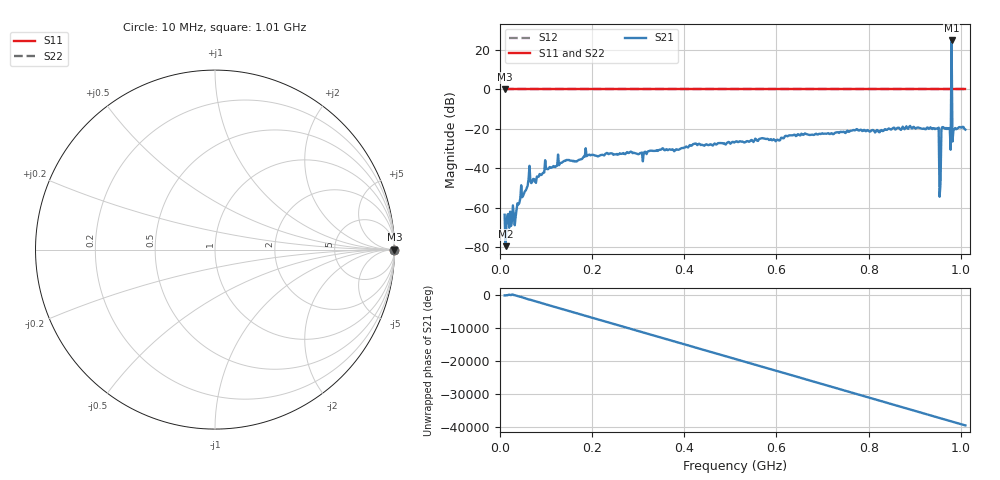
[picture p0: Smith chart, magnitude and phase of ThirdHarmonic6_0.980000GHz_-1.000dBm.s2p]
! 8/16/2025 7:35:18 AM
! C:\ANRITSUVNA\TEMP\TEMP.S2P
! CHANNEL.1
! TR.MEASUREMENT
! RAW.DATA
! RF.CORRECTION.OFF
! AVERAGING.OFF
! IF.BANDWIDTH: 5KHZ
! SWEEPTYPE:  FREQ.SWEEP(Linear)
! Reference Plane Port Info
! PORT:  PORT1  PORT2
! DISTANCE:  0  m  0  m
! TIME:  0  s  0  s
! PHASE.OFFSET:  0  deg.  0  deg.
! LOSS:  0  dB  0  dB
! REF.LOSS:  0  dB  0  dB
! REF.FREQ:  0  Hz  0  Hz
! Power Info
! POWER:  -20  dBm  -20  dBm
! EFF.POWER:  -20  dBm  -20  dBm
! SOURCE.ATTEN:  0  dB  0  dB
! TEST.ATTEN:  0  dB  0  dB
# GHZ S RI R 50.0
! FREQ.GHZ  S11RE  S11IM  S21RE  S21IM  S12RE  S12IM  S22RE  S22IM
!; PortSelection: Port_12
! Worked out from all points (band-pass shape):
!   501 points, 10 MHz to 1.01 GHz, reference 50 ohm
!   highest |S21| = 24.65 dB at 980 MHz (marker M1); lowest = -79.6 dB at 12 MHz (marker M2)
!   |S21| within 3 dB of the highest: 979.8916 MHz to 980.1172 MHz (225.6 kHz wide, 0.023 % of centre)
!   lowest |S11| = 0.0 dB at 10 MHz (marker M3)
!   |S11| at or under -10 dB: nowhere
!   |S22| runs from 0.0 to 0.0 dB; largest |S21 - S12| = 17
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0.01  1 0  0.00025 -0.000608  1 0  1 0
0.012  1 0  -4.8e-06 -0.000105  1 0  1 0
0.034  1 0  4.8e-06 -0.000586  1 0  1 0
0.042  1 0  0.000852 -0.000985  1 0  1 0
0.066  1 0  0.00275 0.00369  1 0  1 0
0.074  1 0  0.000935 0.00516  1 0  1 0
0.13  1 0  0.0108 -0.00727  1 0  1 0
0.178  1 0  -0.0169 -0.00189  1 0  1 0
0.344  1 0  0.0267 -0.00895  1 0  1 0
0.51  1 0  -0.0401 0.0218  1 0  1 0
0.678  1 0  -0.0514 -0.0481  1 0  1 0
0.844  1 0  0.0992 0.0169  1 0  1 0
0.948  1 0  -0.0607 0.0801  1 0  1 0
0.952  1 0  0.0904 -0.0547  1 0  1 0
0.958  1 0  0.00587 0.0991  1 0  1 0
0.962  1 0  0.0205 -0.107  1 0  1 0
0.974  1 0  -0.0932 0.0395  1 0  1 0
0.976  1 0  0.0161 0.1021  1 0  1 0
0.98  1 0  3.26 -16.77  1 0  1 0
0.984  1 0  -0.0339 0.0839  1 0  1 0
0.986  1 0  0.0761 0.0572  1 0  1 0
1.01  1 0  -0.0758 0.0559  1 0  1 0
